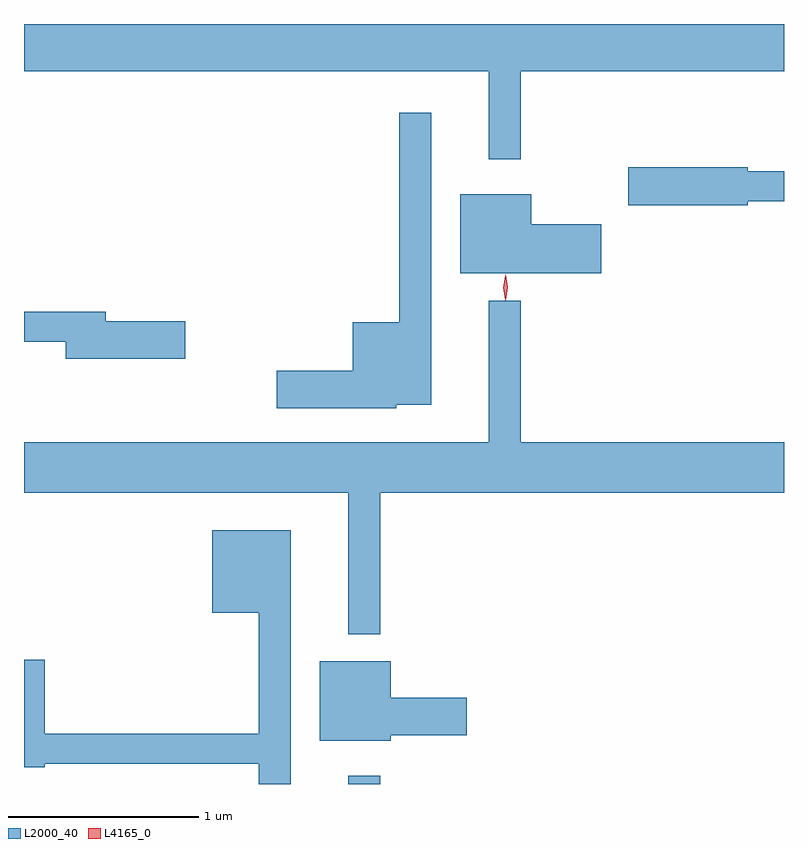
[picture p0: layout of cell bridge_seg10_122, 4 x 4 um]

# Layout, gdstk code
import gdstk
lib = gdstk.Library(unit=1e-6, precision=1e-09)
def R(c, l, rs):  # rectangles x0, y0, x1, y1
    for r in rs: c.add(gdstk.rectangle(r[:2], r[2:], *l))
def P(c, l, *ps):  # polygons
    for p in ps: c.add(gdstk.Polygon(p, *l))
L2000_40 = (2000, 40)
L4165_0 = (4165, 0)

bridge_seg10_122 = lib.new_cell('bridge_seg10_122')
R(bridge_seg10_122, L2000_40, [(1569.841,2094.624,1570.009,2094.668)])
P(bridge_seg10_122, L2000_40, [(1570.749,2098.376),(1572.135,2098.376),(1572.135,2098.624),(1568.135,2098.624),(1568.135,2098.376),(1570.581,2098.376),(1570.581,2097.913),(1570.749,2097.913)],
  [(1570.094,2096.621),(1570.279,2096.621),(1570.279,2098.158),(1570.111,2098.158),(1570.111,2097.054),(1569.866,2097.054),(1569.866,2096.799),(1569.466,2096.799),(1569.466,2096.601),(1570.094,2096.601)],
  [(1571.944,2097.691),(1572.135,2097.691),(1572.135,2097.849),(1571.944,2097.849),(1571.944,2097.869),(1571.316,2097.869),(1571.316,2097.671),(1571.944,2097.671)],
  [(1571.174,2097.569),(1570.804,2097.569),(1570.804,2097.729),(1570.431,2097.729),(1570.431,2097.311),(1571.174,2097.311)],
  [(1570.009,2096.156),(1572.135,2096.156),(1572.135,2096.424),(1570.749,2096.424),(1570.749,2097.168),(1570.581,2097.168),(1570.581,2096.424),(1568.135,2096.424),(1568.135,2096.156),(1569.841,2096.156),(1569.841,2095.413),(1570.009,2095.413)],
  [(1568.984,2097.059),(1568.564,2097.059),(1568.564,2097.109),(1568.135,2097.109),(1568.135,2096.951),(1568.356,2096.951),(1568.356,2096.861),(1568.984,2096.861)],
  [(1569.539,2095.959),(1569.126,2095.959),(1569.126,2095.526),(1569.371,2095.526),(1569.371,2094.889),(1568.244,2094.889),(1568.244,2095.279),(1568.135,2095.279),(1568.135,2094.711),(1568.244,2094.711),(1568.244,2094.731),(1569.371,2094.731),(1569.371,2094.624),(1569.539,2094.624)],
  [(1570.064,2094.881),(1570.464,2094.881),(1570.464,2095.079),(1570.064,2095.079),(1570.064,2095.269),(1569.691,2095.269),(1569.691,2094.851),(1570.064,2094.851)])
P(bridge_seg10_122, L4165_0, [(1570.667,2097.173),(1570.667,2097.173),(1570.657,2097.236),(1570.667,2097.3),(1570.667,2097.3),(1570.668,2097.3),(1570.677,2097.236),(1570.668,2097.173)],
  [(1570.669,2097.17),(1570.669,2097.17),(1570.66,2097.238),(1570.67,2097.305),(1570.67,2097.306),(1570.671,2097.305),(1570.68,2097.238),(1570.67,2097.17)])

lib.write_gds('bridge_seg10_122.gds')
